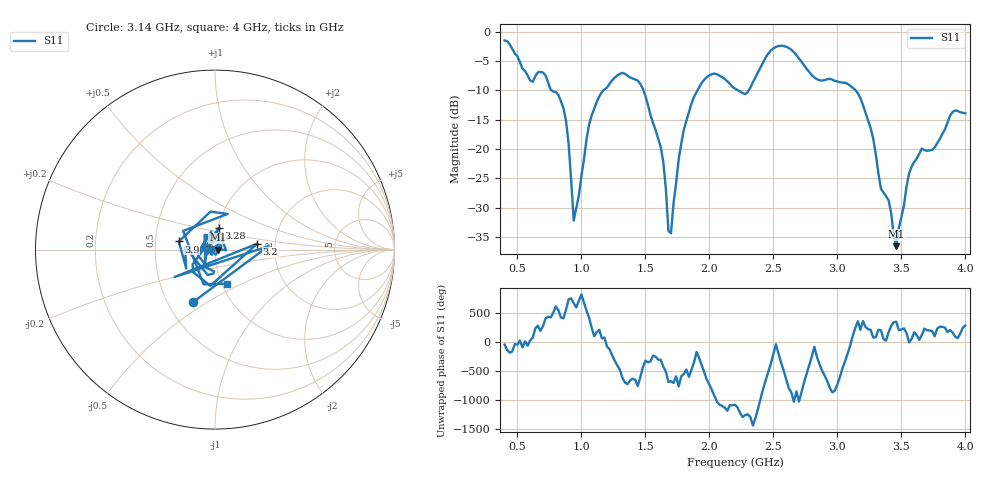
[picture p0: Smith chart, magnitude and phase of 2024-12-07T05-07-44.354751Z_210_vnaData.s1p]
!Created with skrf (http://scikit-rf.org).
# Hz S RI R 50.0
!freq ReS11 ImS11
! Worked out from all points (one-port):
!   181 points, 400 MHz to 4 GHz, reference 50 ohm
!   lowest |S11| = -36.6 dB at 3.46 GHz (marker M1), VSWR 1.03, Z = 51.5 - j0.0914 ohm
!   |S11| at or under -10 dB: 766.4 MHz to 1.173 GHz (407 MHz wide, 42 % of centre); 1.484 GHz to 1.907 GHz (423.1 MHz wide, 24.9 % of centre); 3.142 GHz to end of sweep (the widest 3 of 4)
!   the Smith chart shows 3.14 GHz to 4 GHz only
!   S11 on the Smith chart (normalised r, x): 3.14 GHz: 0.67, -0.44; 3.2 GHz: 1.61, +0.11; 3.28 GHz: 1.02, +0.25; 3.9 GHz: 0.66, +0.06; 4 GHz: 1.06, -0.42
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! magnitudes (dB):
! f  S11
! 400 MHz  -1.5
! 860 MHz  -13.0
! 900 MHz  -19.1
! 940 MHz  -32.2
! 1.08 GHz  -14.3
! 1.3 GHz  -7.2
! 1.5 GHz  -10.9
! 1.62 GHz  -19.7
! 1.66 GHz  -26.9
! 1.68 GHz  -33.9
! 1.7 GHz  -34.4
! 1.76 GHz  -21.8
! 1.86 GHz  -12.3
! 1.96 GHz  -8.2
! 2.2 GHz  -9.7
! 2.3 GHz  -10.3
! 2.5 GHz  -2.9
! 2.66 GHz  -3.5
! 3.1 GHz  -9.2
! 3.14 GHz  -9.9
! 3.2 GHz  -12.5
! 3.28 GHz  -18.2
! 3.34 GHz  -26.8
! 3.4 GHz  -28.7
! 3.46 GHz  -36.6
! 3.56 GHz  -24.2
! 3.9 GHz  -13.7
! 4 GHz  -13.9
